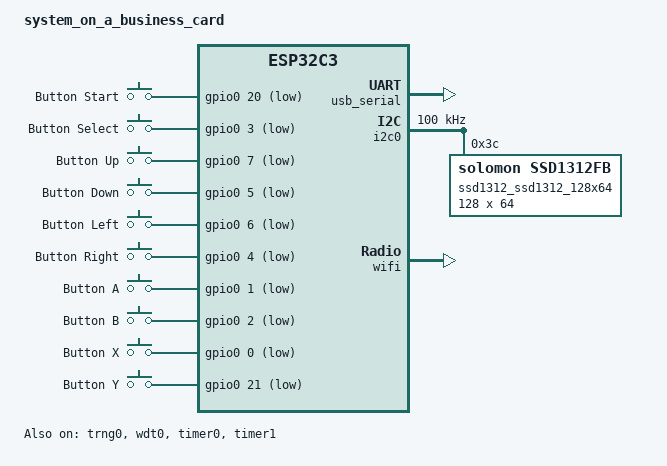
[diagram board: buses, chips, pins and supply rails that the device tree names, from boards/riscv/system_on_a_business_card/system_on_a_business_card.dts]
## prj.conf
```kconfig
CONFIG_SERIAL=y
CONFIG_CONSOLE=y
CONFIG_UART_CONSOLE=y
CONFIG_UART_LINE_CTRL=y

CONFIG_GPIO=y

CONFIG_LOG=y
CONFIG_LOG_MODE_DEFERRED=y
CONFIG_LOG_RUNTIME_FILTERING=y
CONFIG_LOG_BUFFER_SIZE=2048
CONFIG_LOG_PRINTK=y
CONFIG_LOG_PROCESS_TRIGGER_THRESHOLD=0
CONFIG_COVERAGE=n
CONFIG_LOG_TAG_MAX_LEN=8
```

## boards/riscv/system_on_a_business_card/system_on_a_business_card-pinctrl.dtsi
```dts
/*
 * Copyright (c) 2022 Espressif Systems (Shanghai) Co., Ltd.
 *
 * SPDX-License-Identifier: Apache-2.0
 */

#include <zephyr/dt-bindings/pinctrl/esp-pinctrl-common.h>
#include <dt-bindings/pinctrl/esp32c3-pinctrl.h>
#include <zephyr/dt-bindings/pinctrl/esp32c3-gpio-sigmap.h>

&pinctrl {
	i2c0_default: i2c0_default {
		group1 {
			pinmux = <I2C0_SDA_GPIO8>,
				 	 <I2C0_SCL_GPIO10>;
			bias-pull-up;
			drive-open-drain;
			output-high;
		};
	};
};
```

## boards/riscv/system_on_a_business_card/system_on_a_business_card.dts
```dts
/*
 * Copyright (c) 2021 Espressif Systems (Shanghai) Co., Ltd.
 *
 * SPDX-License-Identifier: Apache-2.0
 */

/dts-v1/;

#include <espressif/esp32c3.dtsi>
#include "system_on_a_business_card-pinctrl.dtsi"

/ {
	model = "system_on_a_business_card";
	compatible = "espressif,esp32c3";

	chosen {
		zephyr,sram = &sram0;
		zephyr,console = &usb_serial;
		zephyr,shell-uart = &usb_serial;
		zephyr,flash = &flash0;
		zephyr,display=&ssd1312_ssd1312_128x64;
	};

	aliases {
		btn-start = &user_button_start;
		btn-select = &user_button_select;
		btn-up = &user_button_up;
		btn-down = &user_button_down;
		btn-left = &user_button_left;
		btn-right = &user_button_right;
		btn-a = &user_button_a;
		btn-b = &user_button_b;
		btn-x = &user_button_x;
		btn-y = &user_button_y;
		i2c-0 = &i2c0;
		arduion-i2c = &i2c0;
		watchdog0 = &wdt0;
	};

	power-states {
		light_sleep: light_sleep {
			compatible = "zephyr,power-state";
			power-state-name = "standby";
			min-residency-us = <200>;
			exit-latency-us = <60>;
		};

		deep_sleep: deep_sleep {
			compatible = "zephyr,power-state";
			power-state-name = "soft-off";
			min-residency-us = <660>;
			exit-latency-us = <105>;
		};
	};

	gpio_keys {
		compatible = "gpio-keys";
		user_button_start: button_start {
			label = "Button Start";
			gpios = <&gpio0 20 (GPIO_PULL_UP | GPIO_ACTIVE_LOW)>;
		};
		user_button_select: button_select{
			label = "Button Select";
			gpios = <&gpio0 3 (GPIO_PULL_UP | GPIO_ACTIVE_LOW)>;
		};
		user_button_up: button_up{
			label = "Button Up";
			gpios = <&gpio0 7 (GPIO_PULL_UP | GPIO_ACTIVE_LOW)>;
		};
		user_button_down: button_down{
			label = "Button Down";
			gpios = <&gpio0 5 (GPIO_PULL_UP | GPIO_ACTIVE_LOW)>;
		};
		user_button_left: button_left{
			label = "Button Left";
			gpios = <&gpio0 6 (GPIO_PULL_UP | GPIO_ACTIVE_LOW)>;
		};
		user_button_right: button_right{
			label = "Button Right";
			gpios = <&gpio0 4 (GPIO_PULL_UP | GPIO_ACTIVE_LOW)>;
		};
		user_button_a: button_a{
			label = "Button A";
			gpios = <&gpio0 1 (GPIO_PULL_UP | GPIO_ACTIVE_LOW)>;
		};
		user_button_b: button_b{
			label = "Button B";
			gpios = <&gpio0 2 (GPIO_PULL_UP | GPIO_ACTIVE_LOW)>;
		};
		user_button_x: button_x{
			label = "Button X";
			gpios = <&gpio0 0 (GPIO_PULL_UP | GPIO_ACTIVE_LOW)>;
		};
		user_button_y: button_y{
			label = "Button Y";
			gpios = <&gpio0 21 (GPIO_PULL_UP | GPIO_ACTIVE_LOW)>;
		};
	};
};

&cpu0 {
	clock-frequency = <ESP32_CLK_CPU_160M>;
	cpu-power-states = <&deep_sleep &light_sleep>;
};

&uart0 {
	status = "disabled";
};

&usb_serial {
	status = "okay";
};

&i2c0 {
	status = "okay";
	clock-frequency = <I2C_BITRATE_STANDARD>;
	pinctrl-0 = <&i2c0_default>;
	pinctrl-names = "default";

	ssd1312_ssd1312_128x64: ssd1312@3c {
		compatible = "solomon,ssd1312fb";
		reg = <0x3c>;
		width = <128>;
		height = <64>;
		segment-offset = <0>;
		page-offset = <0>;
		display-offset = <0>;
		multiplex-ratio = <63>;
		segment-remap;
		com-invdir;
		prechargep = <0x22>;
	};
};

&trng0 {
	status = "okay";
};

&spi2 {
	status = "disabled";
};

&gpio0 {
	status = "okay";
};

&wdt0 {
	status = "okay";
};

&timer0 {
	status = "okay";
};

&timer1 {
	status = "okay";
};

&wifi {
	status = "okay";
};

&flash0 {
	status = "okay";
	partitions {
		compatible = "fixed-partitions";
		#address-cells = <1>;
		#size-cells = <1>;

		/* Reserve 60kB for the bootloader */
		boot_partition: partition@0 {
			label = "mcuboot";
			reg = <0x00000000 0x0000F000>;
			read-only;
		};

		/* Reserve 1024kB for the application in slot 0 */
		slot0_partition: partition@10000 {
			label = "image-0";
			reg = <0x00010000 0x00100000>;
		};

		/* Reserve 1024kB for the application in slot 1 */
		slot1_partition: partition@110000 {
			label = "image-1";
			reg = <0x00110000 0x00100000>;
		};

		/* Reserve 256kB for the scratch partition */
		scratch_partition: partition@210000 {
			   label = "image-scratch";
			   reg = <0x00210000 0x00040000>;
		};

		storage_partition: partition@250000 {
			label = "storage";
			reg = <0x00250000 0x00006000>;
		};
	};
};
```

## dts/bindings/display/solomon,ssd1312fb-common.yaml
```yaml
# Copyright (c) 2018, Phytec Messtechnik GmbH
# SPDX-License-Identifier: Apache-2.0

include: display-controller.yaml

properties:
  segment-offset:
    type: int
    required: true
    description: 8-bit column start address for Page Addressing Mode

  page-offset:
    type: int
    required: true
    description: Start address for Page Addressing Mode

  display-offset:
    type: int
    required: true
    description: mapping of the display start line to one of COM0 .. COM63

  multiplex-ratio:
    type: int
    required: true
    description: Multiplex Ratio

  segment-remap:
    type: boolean
    description: Last column address is mapped to first segment

  com-invdir:
    type: boolean
    description: Scan direction is from last COM output to first COM output

  com-sequential:
    type: boolean
    description: Sequential COM pin configuration

  prechargep:
    type: int
    required: true
    description: Duration of the pre-charge period

  reset-gpios:
    type: phandle-array
    description: RESET pin.

      The RESET pin of SSD1312 is active low.
      If connected directly the MCU pin should be configured
      as active low.
```

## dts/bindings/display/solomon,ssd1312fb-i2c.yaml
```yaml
# Copyright (c) 2020, Marco Peter
# SPDX-License-Identifier: Apache-2.0

description: SSD1312 128x64 dot-matrix display controller on I2C bus

compatible: "solomon,ssd1312fb"

include: ["solomon,ssd1312fb-common.yaml", "i2c-device.yaml"]
```

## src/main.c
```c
/*
 * Copyright (c) 2019 Nordic Semiconductor ASA
 *
 * SPDX-License-Identifier: Apache-2.0
 */

#include <zephyr/kernel.h>
#include <zephyr/device.h>
#include <zephyr/drivers/gpio.h>

#include <zephyr/sys/util.h>
#include <zephyr/sys/printk.h>
#include <inttypes.h>

#include <stdio.h>
#include <math.h>

#include <zephyr/logging/log.h>
LOG_MODULE_REGISTER(minimal, LOG_LEVEL_DBG);

#define BTN_START_NODE	DT_ALIAS(btn_start)
#if !DT_NODE_HAS_STATUS(BTN_START_NODE, okay)
	#error "Unsupported board: btn_start devicetree alias is not defined"
#endif
static const struct gpio_dt_spec btn_start = GPIO_DT_SPEC_GET_OR(BTN_START_NODE, gpios, {0});
static struct gpio_callback button_start_cb_data;

#define BTN_SELECT_NODE	DT_ALIAS(btn_select)
#if !DT_NODE_HAS_STATUS(BTN_SELECT_NODE, okay)
	#error "Unsupported board: btn_select devicetree alias is not defined"
#endif
static const struct gpio_dt_spec btn_select = GPIO_DT_SPEC_GET_OR(BTN_SELECT_NODE, gpios, {0});
static struct gpio_callback button_select_cb_data;

#define BTN_UP_NODE	DT_ALIAS(btn_up)
#if !DT_NODE_HAS_STATUS(BTN_UP_NODE, okay)
	#error "Unsupported board: btn_up devicetree alias is not defined"
#endif
static const struct gpio_dt_spec btn_up = GPIO_DT_SPEC_GET_OR(BTN_UP_NODE, gpios, {0});
static struct gpio_callback button_up_cb_data;

#define BTN_DOWN_NODE	DT_ALIAS(btn_down)
#if !DT_NODE_HAS_STATUS(BTN_DOWN_NODE, okay)
	#error "Unsupported board: btn_down devicetree alias is not defined"
#endif
static const struct gpio_dt_spec btn_down = GPIO_DT_SPEC_GET_OR(BTN_DOWN_NODE, gpios, {0});
static struct gpio_callback button_down_cb_data;

#define BTN_LEFT_NODE	DT_ALIAS(btn_left)
#if !DT_NODE_HAS_STATUS(BTN_LEFT_NODE, okay)
	#error "Unsupported board: btn_left devicetree alias is not defined"
#endif
static const struct gpio_dt_spec btn_left = GPIO_DT_SPEC_GET_OR(BTN_LEFT_NODE, gpios, {0});
static struct gpio_callback button_left_cb_data;

#define BTN_RIGHT_NODE	DT_ALIAS(btn_right)
#if !DT_NODE_HAS_STATUS(BTN_RIGHT_NODE, okay)
	#error "Unsupported board: btn_right devicetree alias is not defined"
#endif
static const struct gpio_dt_spec btn_right = GPIO_DT_SPEC_GET_OR(BTN_RIGHT_NODE, gpios, {0});
static struct gpio_callback button_right_cb_data;

#define BTN_A_NODE	DT_ALIAS(btn_a)
#if !DT_NODE_HAS_STATUS(BTN_A_NODE, okay)
	#error "Unsupported board: btn_a devicetree alias is not defined"
#endif
static const struct gpio_dt_spec btn_a = GPIO_DT_SPEC_GET_OR(BTN_A_NODE, gpios, {0});
static struct gpio_callback button_a_cb_data;

#define BTN_B_NODE	DT_ALIAS(btn_b)
#if !DT_NODE_HAS_STATUS(BTN_START_NODE, okay)
	#error "Unsupported board: btn_b devicetree alias is not defined"
#endif
static const struct gpio_dt_spec btn_b = GPIO_DT_SPEC_GET_OR(BTN_B_NODE, gpios, {0});
static struct gpio_callback button_b_cb_data;

#define BTN_X_NODE	DT_ALIAS(btn_x)
#if !DT_NODE_HAS_STATUS(BTN_X_NODE, okay)
	#error "Unsupported board: btn_x devicetree alias is not defined"
#endif
static const struct gpio_dt_spec btn_x = GPIO_DT_SPEC_GET_OR(BTN_X_NODE, gpios, {0});
static struct gpio_callback button_x_cb_data;

#define BTN_Y_NODE	DT_ALIAS(btn_y)
#if !DT_NODE_HAS_STATUS(BTN_Y_NODE, okay)
	#error "Unsupported board: btn_y devicetree alias is not defined"
#endif
static const struct gpio_dt_spec btn_y = GPIO_DT_SPEC_GET_OR(BTN_Y_NODE, gpios, {0});
static struct gpio_callback button_y_cb_data;


void btn_changed(const struct device *dev, struct gpio_callback *cb, uint32_t pins)
{
    int start = gpio_pin_get(btn_start.port, btn_start.pin);
    int select = gpio_pin_get(btn_select.port, btn_select.pin);
    int up = gpio_pin_get(btn_up.port, btn_up.pin);
    int down = gpio_pin_get(btn_down.port, btn_down.pin);
    int left = gpio_pin_get(btn_left.port, btn_left.pin);
    int right = gpio_pin_get(btn_right.port, btn_right.pin);
    int a = gpio_pin_get(btn_a.port, btn_a.pin);
    int b = gpio_pin_get(btn_b.port, btn_b.pin);
    int x = gpio_pin_get(btn_x.port, btn_x.pin);
    int y = gpio_pin_get(btn_y.port, btn_y.pin);

	LOG_DBG("Intr: Start:%i Select:%i Up:%i Down:%i Left:%i Right:%i A:%i B:%i X:%i Y:%i\n", start, select, up, down, left, right, a, b, x, y);
}

int init_button(const struct gpio_dt_spec *btn, struct gpio_callback *btn_cb_data)
{
	int ret=device_is_ready(btn->port);
	if (!ret) {
		LOG_ERR("Error: btn device %s is not ready\n", btn->port->name);
		return ret;
	}

	ret = gpio_pin_configure_dt(btn, GPIO_INPUT);
	if (ret != 0) {
		LOG_ERR("Error %d: failed to configure %s pin %d\n", ret, btn->port->name, btn->pin);
		return ret;
	}
	
	ret = gpio_pin_interrupt_configure_dt(btn, GPIO_INT_EDGE_BOTH);
	if (ret != 0) {
		LOG_ERR("Error %d: failed to configure interrupt on %s pin %d\n", ret, btn->port->name, btn_start.pin);
		return ret;
	}

	gpio_init_callback(btn_cb_data, btn_changed, BIT(btn->pin));
	gpio_add_callback(btn->port, btn_cb_data);

	return 0;
}

void main(void)
{
	printk("Hello, world!");
	/*
	int ret = init_button(&btn_start, &button_start_cb_data);
	if(ret != 0)
	{
		LOG_ERR("Error: btn device %s, btn_start initialisation error\n", btn_start.port->name);
		return;
	}
	LOG_DBG("Set up btn_start at %s pin %d successfull\n", btn_start.port->name, btn_start.pin);


	ret = init_button(&btn_select, &button_select_cb_data);
	if(ret != 0)
	{
		LOG_ERR("Error: btn device %s, btn_select initialisation error\n", btn_select.port->name);
		return;
	}
	LOG_DBG("Set up btn_select at %s pin %d successfull\n", btn_select.port->name, btn_select.pin);


	ret = init_button(&btn_up, &button_up_cb_data);
	if(ret != 0)
	{
		LOG_ERR("Error: btn device %s, btn_up initialisation error\n", btn_up.port->name);
		return;
	}
	LOG_DBG("Set up btn_upt at %s pin %d successfull\n", btn_up.port->name, btn_up.pin);


	ret = init_button(&btn_down, &button_down_cb_data);
	if(ret != 0)
	{
		LOG_ERR("Error: btn device %s, btn_down initialisation error\n", btn_down.port->name);
		return;
	}
	LOG_DBG("Set up btn_down at %s pin %d successfull\n", btn_down.port->name, btn_down.pin);


	ret = init_button(&btn_left, &button_left_cb_data);
	if(ret != 0)
	{
		LOG_ERR("Error: btn device %s, btn_left initialisation error\n", btn_left.port->name);
		return;
	}
	LOG_DBG("Set up btn_left at %s pin %d successfull\n", btn_left.port->name, btn_left.pin);


	ret = init_button(&btn_right, &button_right_cb_data);
	if(ret != 0)
	{
		LOG_ERR("Error: btn device %s, btn_right initialisation error\n", btn_right.port->name);
		return;
	}
	LOG_DBG("Set up btn_right at %s pin %d successfull\n", btn_right.port->name, btn_right.pin);


	ret = init_button(&btn_a, &button_a_cb_data);
	if(ret != 0)
	{
		LOG_ERR("Error: btn device %s, btn_a initialisation error\n", btn_a.port->name);
		return;
	}
	LOG_DBG("Set up btn_a at %s pin %d successfull\n", btn_a.port->name, btn_a.pin);


	ret = init_button(&btn_b, &button_b_cb_data);
	if(ret != 0)
	{
		LOG_ERR("Error: btn device %s, btn_b initialisation error\n", btn_b.port->name);
		return;
	}
	LOG_DBG("Set up btn_b at %s pin %d successfull\n", btn_b.port->name, btn_b.pin);

	ret = init_button(&btn_x, &button_x_cb_data);
	if(ret != 0)
	{
		LOG_ERR("Error: btn device %s, btn_x initialisation error\n", btn_x.port->name);
		return;
	}
	LOG_DBG("Set up btn_x at %s pin %d successfull\n", btn_x.port->name, btn_x.pin);


	ret = init_button(&btn_y, &button_y_cb_data);
	if(ret != 0)
	{
		LOG_ERR("Error: btn device %s, btn_y initialisation error\n", btn_y.port->name);
		return;
	}
	LOG_DBG("Set up btn_y at %s pin %d successfull\n", btn_y.port->name, btn_y.pin);
	*/

	while (1)
	{
		/* code */
		k_sleep(K_SECONDS(1));
		printk("Hello, world!");
	}
}
```
